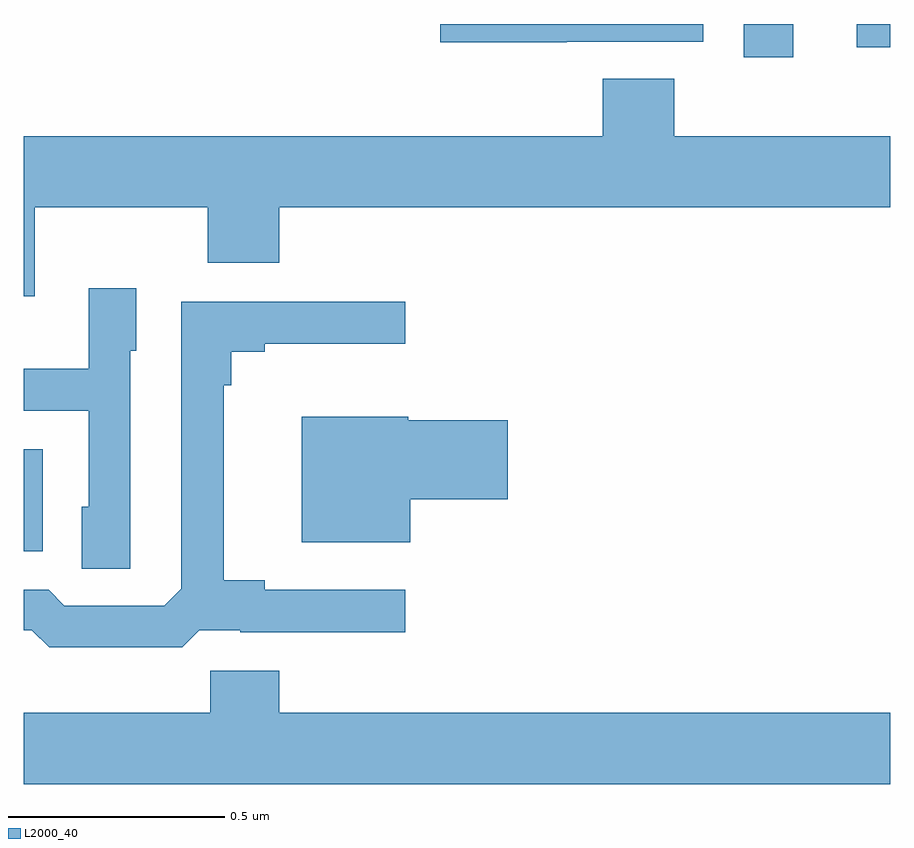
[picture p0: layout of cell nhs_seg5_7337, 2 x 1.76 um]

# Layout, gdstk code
import gdstk
lib = gdstk.Library(unit=1e-6, precision=1e-09)
def R(c, l, rs):  # rectangles x0, y0, x1, y1
    for r in rs: c.add(gdstk.rectangle(r[:2], r[2:], *l))
def P(c, l, *ps):  # polygons
    for p in ps: c.add(gdstk.Polygon(p, *l))
L2000_40 = (2000, 40)

nhs_seg5_7337 = lib.new_cell('nhs_seg5_7337')
R(nhs_seg5_7337, L2000_40, [(207,906.581,207.043,906.817), (208.662,907.722,208.777,907.799), (208.923,907.745,209,907.799)])
P(nhs_seg5_7337, L2000_40, [(208.253,907.758),(208.569,907.758),(208.569,907.799),(207.961,907.799),(207.961,907.757),(208.253,907.757)],
  [(207.025,907.376),(207.425,907.376),(207.425,907.248),(207.589,907.248),(207.589,907.376),(209,907.376),(209,907.54),(208.502,907.54),(208.502,907.673),(208.337,907.673),(208.337,907.54),(207,907.54),(207,907.17),(207.025,907.17)],
  [(207.246,907.044),(207.259,907.044),(207.259,907.189),(207.15,907.189),(207.15,907.003),(207,907.003),(207,906.906),(207.15,906.906),(207.15,906.684),(207.134,906.684),(207.134,906.541),(207.246,906.541)],
  [(207.405,906.399),(207.499,906.399),(207.499,906.395),(207.88,906.395),(207.88,906.492),(207.556,906.492),(207.556,906.515),(207.461,906.515),(207.461,906.965),(207.479,906.965),(207.479,907.042),(207.556,907.042),(207.556,907.061),(207.88,907.061),(207.88,907.158),(207.363,907.158),(207.363,906.495),(207.324,906.456),(207.093,906.456),(207.057,906.492),(207,906.492),(207,906.399),(207.018,906.399),(207.058,906.36),(207.365,906.36)],
  [(207.892,906.701),(208.117,906.701),(208.117,906.884),(207.888,906.884),(207.888,906.892),(207.641,906.892),(207.641,906.602),(207.892,906.602)],
  [(209,906.208),(207.59,906.208),(207.59,906.306),(207.43,906.306),(207.43,906.208),(207,906.208),(207,906.044),(209,906.044)])

lib.write_gds('nhs_seg5_7337.gds')
